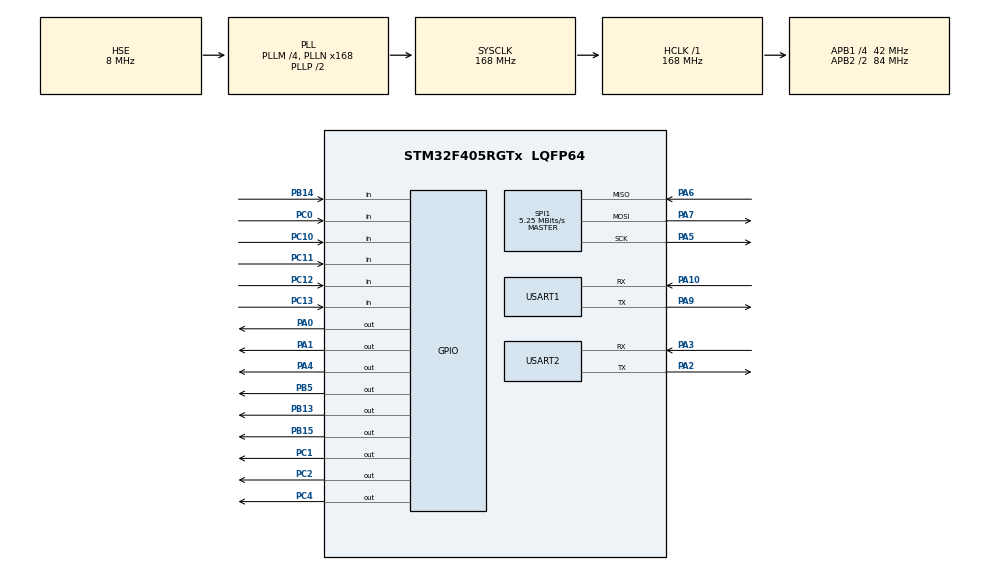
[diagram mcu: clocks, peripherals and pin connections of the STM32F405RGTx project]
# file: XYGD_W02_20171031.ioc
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Dma.Request0=USART2_TX
Dma.Request1=USART1_TX
Dma.USART1_TX.1.Direction=DMA_MEMORY_TO_PERIPH
Dma.USART1_TX.1.FIFOMode=DMA_FIFOMODE_DISABLE
Dma.USART1_TX.1.Instance=DMA2_Stream7
Dma.USART1_TX.1.MemDataAlignment=DMA_MDATAALIGN_BYTE
Dma.USART1_TX.1.MemInc=DMA_MINC_ENABLE
Dma.USART1_TX.1.Mode=DMA_NORMAL
Dma.USART1_TX.1.PeriphDataAlignment=DMA_PDATAALIGN_BYTE
Dma.USART1_TX.1.PeriphInc=DMA_PINC_DISABLE
Dma.USART1_TX.1.Priority=DMA_PRIORITY_LOW
Dma.USART2_TX.0.Direction=DMA_MEMORY_TO_PERIPH
Dma.USART2_TX.0.FIFOMode=DMA_FIFOMODE_DISABLE
Dma.USART2_TX.0.Instance=DMA1_Stream6
Dma.USART2_TX.0.MemDataAlignment=DMA_MDATAALIGN_BYTE
Dma.USART2_TX.0.MemInc=DMA_MINC_ENABLE
Dma.USART2_TX.0.Mode=DMA_NORMAL
Dma.USART2_TX.0.PeriphDataAlignment=DMA_PDATAALIGN_BYTE
Dma.USART2_TX.0.PeriphInc=DMA_PINC_DISABLE
Dma.USART2_TX.0.Priority=DMA_PRIORITY_LOW
IWDG.Prescaler=IWDG_PRESCALER_32
IWDG.Reload=4000
Mcu.Family=STM32F4
Mcu.Name=STM32F405RGTx
Mcu.Package=LQFP64
NVIC.DMA1_Stream6_IRQn=true\:0\:0\:false\:false\:true\:false
NVIC.DMA2_Stream7_IRQn=true\:0\:0\:false\:false\:true\:false
NVIC.PriorityGroup=NVIC_PRIORITYGROUP_3
NVIC.TIM2_IRQn=true\:4\:0\:true\:false\:true\:true
NVIC.TIM3_IRQn=true\:3\:0\:true\:false\:true\:true
NVIC.USART1_IRQn=true\:2\:0\:true\:false\:true\:true
NVIC.USART2_IRQn=true\:1\:0\:true\:false\:true\:true
PA0-WKUP.GPIO_PuPd=GPIO_PULLUP
PA0-WKUP.PinState=GPIO_PIN_SET
PA0-WKUP.Signal=GPIO_Output
PA1.GPIO_PuPd=GPIO_PULLUP
PA1.PinState=GPIO_PIN_SET
PA1.Signal=GPIO_Output
PA10.Mode=Asynchronous
PA10.Signal=USART1_RX
PA13.Mode=Serial_Wire
PA13.Signal=SYS_JTMS-SWDIO
PA14.Mode=Serial_Wire
PA14.Signal=SYS_JTCK-SWCLK
PA2.Mode=Asynchronous
PA2.Signal=USART2_TX
PA3.Mode=Asynchronous
PA3.Signal=USART2_RX
PA4.PinState=GPIO_PIN_SET
PA4.Signal=GPIO_Output
PA5.GPIO_PuPd=GPIO_PULLUP
PA5.Mode=Full_Duplex_Master
PA5.Signal=SPI1_SCK
PA6.Mode=Full_Duplex_Master
PA6.Signal=SPI1_MISO
PA7.Mode=Full_Duplex_Master
PA7.Signal=SPI1_MOSI
PA9.Mode=Asynchronous
PA9.Signal=USART1_TX
PB13.GPIO_ModeDefaultOutputPP=GPIO_MODE_OUTPUT_PP
PB13.GPIO_PuPd=GPIO_NOPULL
PB13.PinState=GPIO_PIN_SET
PB13.Signal=GPIO_Output
PB14.GPIO_PuPd=GPIO_NOPULL
PB14.Signal=GPIO_Input
PB15.GPIO_ModeDefaultOutputPP=GPIO_MODE_OUTPUT_PP
PB15.GPIO_PuPd=GPIO_NOPULL
PB15.PinState=GPIO_PIN_SET
PB15.Signal=GPIO_Output
PB5.PinState=GPIO_PIN_SET
PB5.Signal=GPIO_Output
PC0.GPIO_PuPd=GPIO_PULLUP
PC0.Signal=GPIO_Input
PC1.PinState=GPIO_PIN_SET
PC1.Signal=GPIO_Output
PC10.Signal=GPIO_Input
PC11.Signal=GPIO_Input
PC12.GPIO_PuPd=GPIO_PULLUP
PC12.Signal=GPIO_Input
PC13-ANTI_TAMP.Signal=GPIO_Input
PC2.PinState=GPIO_PIN_SET
PC2.Signal=GPIO_Output
PC4.GPIO_PuPd=GPIO_PULLUP
PC4.PinState=GPIO_PIN_SET
PC4.Signal=GPIO_Output
PH0-OSC_IN.Mode=HSE-External-Oscillator
PH0-OSC_IN.Signal=RCC_OSC_IN
PH1-OSC_OUT.Mode=HSE-External-Oscillator
PH1-OSC_OUT.Signal=RCC_OSC_OUT
ProjectManager.HeapSize=0x5000
ProjectManager.StackSize=0xA000
ProjectManager.TargetToolchain=MDK-ARM V5
RCC.48MHZClocksFreq_Value=84000000
RCC.AHBFreq_Value=168000000
RCC.APB1CLKDivider=RCC_HCLK_DIV4
RCC.APB1Freq_Value=42000000
RCC.APB1TimFreq_Value=84000000
RCC.APB2CLKDivider=RCC_HCLK_DIV2
RCC.APB2Freq_Value=84000000
RCC.APB2TimFreq_Value=168000000
RCC.CortexFreq_Value=168000000
RCC.HCLKFreq_Value=168000000
RCC.HSE_VALUE=8000000
RCC.HSI_VALUE=16000000
RCC.LSE_VALUE=32768
RCC.PLLM=4
RCC.PLLN=168
RCC.PLLSourceVirtual=RCC_PLLSOURCE_HSE
RCC.SYSCLKFreq_VALUE=168000000
RCC.SYSCLKSource=RCC_SYSCLKSOURCE_PLLCLK
RCC.VCOOutputFreq_Value=336000000
SPI1.BaudRatePrescaler=SPI_BAUDRATEPRESCALER_16
SPI1.CalculateBaudRate=5.25 MBits/s
SPI1.DataSize=SPI_DATASIZE_8BIT
SPI1.Direction=SPI_DIRECTION_2LINES
SPI1.Mode=SPI_MODE_MASTER
SPI1.VirtualType=VM_MASTER
TIM2.ClockDivision=TIM_CLOCKDIVISION_DIV1
TIM2.Period=999
TIM2.Prescaler=83
TIM3.Period=9
TIM3.Prescaler=83
USART1.VirtualMode=VM_ASYNC
USART2.VirtualMode=VM_ASYNC
VP_IWDG_VS_IWDG.Mode=IWDG_Activate
VP_TIM2_VS_ClockSourceINT.Mode=Internal
VP_TIM3_VS_ClockSourceINT.Mode=Internal
board=XYGD_W02_20171031

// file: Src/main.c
/**
  ******************************************************************************
  * File Name          : main.c
  * Description        : Main program body
  ******************************************************************************
  ** This notice applies to any and all portions of this file
  * that are not between comment pairs USER CODE BEGIN and
  * USER CODE END. Other portions of this file, whether
  * inserted by the user or by software development tools
  * are owned by their respective copyright owners.
  *
  * COPYRIGHT(c) 2018 STMicroelectronics
  *
  * Redistribution and use in source and binary forms, with or without modification,
  * are permitted provided that the following conditions are met:
  *   1. Redistributions of source code must retain the above copyright notice,
  *      this list of conditions and the following disclaimer.
  *   2. Redistributions in binary form must reproduce the above copyright notice,
  *      this list of conditions and the following disclaimer in the documentation
  *      and/or other materials provided with the distribution.
  *   3. Neither the name of STMicroelectronics nor the names of its contributors
  *      may be used to endorse or promote products derived from this software
  *      without specific prior written permission.
  *
  * THIS SOFTWARE IS PROVIDED BY THE COPYRIGHT HOLDERS AND CONTRIBUTORS "AS IS"
  * AND ANY EXPRESS OR IMPLIED WARRANTIES, INCLUDING, BUT NOT LIMITED TO, THE
  * IMPLIED WARRANTIES OF MERCHANTABILITY AND FITNESS FOR A PARTICULAR PURPOSE ARE
  * DISCLAIMED. IN NO EVENT SHALL THE COPYRIGHT HOLDER OR CONTRIBUTORS BE LIABLE
  * FOR ANY DIRECT, INDIRECT, INCIDENTAL, SPECIAL, EXEMPLARY, OR CONSEQUENTIAL
  * DAMAGES (INCLUDING, BUT NOT LIMITED TO, PROCUREMENT OF SUBSTITUTE GOODS OR
  * SERVICES; LOSS OF USE, DATA, OR PROFITS; OR BUSINESS INTERRUPTION) HOWEVER
  * CAUSED AND ON ANY THEORY OF LIABILITY, WHETHER IN CONTRACT, STRICT LIABILITY,
  * OR TORT (INCLUDING NEGLIGENCE OR OTHERWISE) ARISING IN ANY WAY OUT OF THE USE
  * OF THIS SOFTWARE, EVEN IF ADVISED OF THE POSSIBILITY OF SUCH DAMAGE.
  *
  ******************************************************************************
  */

#include "main.h"
#include "stm32f4xx_hal.h"
#include "dma.h"
#include "iwdg.h"
#include "spi.h"
#include "tim.h"
#include "usart.h"
#include "gpio.h"

/* USER CODE BEGIN Includes */
#include "bsp_led.h"
#include "bsp_uart.h"
#include "bsp_UartProtocl.h"
#include "bsp_Ad7606.h"
#include "bsp_interal_flash.h"
#include <string.h>
#include <stdio.h>
//#include "bsp_double_buf.h"
#include "bsp_calculation.h"
#include "bsp_buildframe.h"
#include "bsp_dmasend.h"
#include "bsp_ms5540b.h"

#include "bsp_adder.h"
/* USER CODE END Includes */

/* USER CODE BEGIN PV */
/* Private variables ---------------------------------------------------------*/
//static uint8_t press_data_test[2]={0xb1,0xb2};
//static uint8_t presstmp_data_test[2]={0xc1,0xc2};
static uint8_t tmp_data_test[2]={0xd1,0xd2};
static uint8_t tmp_sendbuf[30]={0};
/* USER CODE END PV */

void SystemClock_Config(void);

/* USER CODE BEGIN PFP */
/* Private function prototypes -----------------------------------------------*/

/* USER CODE END PFP */

int main(void)
{

  /* USER CODE BEGIN 1 */
	static int16_t i=0;
	//uint8_t buf[]="hello\r\n";

  /* USER CODE END 1 */

  /* MCU Configuration----------------------------------------------------------*/

  /* Reset of all peripherals, Initializes the Flash interface and the Systick. */
  HAL_Init();

  /* Configure the system clock */
  SystemClock_Config();

  /* Initialize all configured peripherals */
  MX_GPIO_Init();
  MX_DMA_Init();
  MX_USART1_UART_Init();
  MX_TIM2_Init();
  MX_SPI1_Init();
  MX_TIM3_Init();
  MX_USART2_UART_Init();
  //MX_IWDG_Init();

  /* USER CODE BEGIN 2 */

	ProtocolFrame_Init(&UartFrame,Uart_ReadAByteFromRxFifo);//注册协议组包函数的数据输入接口回调函数
	ProtocolFrame_Init(&UartFrame2,Uart_ReadAByteFromRxFifo);//注册协议组包函数的数据输入接口回调函数
	Uart_Receive_Start(&huart1,Uart_Fifo_Point);//开启串口中断，将数据存入环形缓冲器 串口1
	Uart_Receive_Start(&huart2,Uart_Fifo_Point2);//开启串口中断，将数据存入环形缓冲器 串口2
	Interal_Flash_ReadByByte(USER_FLASH_ADDR_START,(uint8_t*)&Bsp_Config,sizeof(Bsp_Config_Typedef));	//读取模块配置表
	if(Bsp_Config.update_flag!=BSP_CONFIG_TABLE_FLAG){//配置出厂配置
		if(INTERAL_FLASH_SUCCESS==Interal_Flash_WriteByByte(USER_FLASH_ADDR_START,(uint8_t *)&Bsp_Config_default,sizeof(Bsp_Config_Typedef))){
			printf("Firt using of this device,Config default arguments done!\r\n");
			Interal_Flash_ReadByByte(USER_FLASH_ADDR_START,(uint8_t*)&Bsp_Config,sizeof(Bsp_Config_Typedef));	//读取模块配置表
			//打印参数表
		}else{
			printf("Firt using of this device,Config default arguments error!\r\n");
		}
	}

	Ms5540_Init(&MS5540);//初始化气压传感器
	AdcAdder_Init(&AdcDataAdder,Bsp_Config.AverageTimes);
	DmaSendInit(&DmaSendMoudle);
	BuildFrame_Init(&BuildFrameC);//组帧模块初始化

	CalculationInit(&Calculation);//算法层初始化
	AD7606_Init(Bsp_Config.adc_sample_fre);//初始化AD7606  默认采样频率10k

	//HAL_TIM_Base_Start_IT(&htim3);  //开始定时器
	HAL_TIM_Base_Start_IT(&htim2);  //开始定时器

  /* USER CODE END 2 */

  /* Infinite loop */
  while (1)
  {

  /* USER CODE BEGIN 3 */

		UartReceiveServer();//监测是否有通信指令送达  如果有  解析指令  并完成相应工作

		/*
		if(ADCADDER_SUCCESS== AdcAdder_DataOutput(&AdcDataAdder,Calculation.datainputreg,8)){
			AdcAverage(&Calculation,AdcDataAdder.AdderTimesThreshold);
			Ms5540_ReadTempPressure(&MS5540);//测量气压和温度
			BuildFrameAllInput(&BuildFrameC,(uint8_t*)Calculation.dataoutputbuf,10,MS5540.pressurebuf,2,MS5540.temperaturebuf,2,tmp_data_test,2);
			DmaSend(&DmaSendMoudle,BuildFrameC.BuildFrameOutputBuf,BuildFrameC.framelen);
			Calculation.bussy=CALCULATION_NOBUSSY;
		}
		*/

		if(AD7606_SUCESS== AD7606_Read8Channel(Adc_CodeBytes)){//采样成功  装入BUF
			tmp_sendbuf[0]=0xA5;

			tmp_sendbuf[1]=Adc_CodeBytes[1];
			tmp_sendbuf[2]=Adc_CodeBytes[0];

			tmp_sendbuf[3]=Adc_CodeBytes[3];
			tmp_sendbuf[4]=Adc_CodeBytes[2];
			tmp_sendbuf[5]=Adc_CodeBytes[5];
			tmp_sendbuf[6]=Adc_CodeBytes[4];
			tmp_sendbuf[7]=Adc_CodeBytes[7];
			tmp_sendbuf[8]=Adc_CodeBytes[6];
			tmp_sendbuf[9]=Adc_CodeBytes[9];
			tmp_sendbuf[10]=Adc_CodeBytes[8];

			tmp_sendbuf[11]=0;
			tmp_sendbuf[12]=0;
			tmp_sendbuf[13]=0;
			tmp_sendbuf[14]=0;
			tmp_sendbuf[15]=0;
			tmp_sendbuf[16]=0;

			tmp_sendbuf[17]=0;

			for(i=0;i<17;i++){
				tmp_sendbuf[17]^=tmp_sendbuf[i];
			}
			tmp_sendbuf[18]=0x5A;
			DmaSend(&DmaSendMoudle,tmp_sendbuf,19);
			HAL_Delay(20);

		}

		//喂我中华田园犬
		//HAL_IWDG_Refresh(&hiwdg);

	}

  /* USER CODE END 3 */

}

/** System Clock Configuration
*/
void SystemClock_Config(void)
{

  RCC_OscInitTypeDef RCC_OscInitStruct;
  RCC_ClkInitTypeDef RCC_ClkInitStruct;

    /**Configure the main internal regulator output voltage
    */
  __HAL_RCC_PWR_CLK_ENABLE();

  __HAL_PWR_VOLTAGESCALING_CONFIG(PWR_REGULATOR_VOLTAGE_SCALE1);

    /**Initializes the CPU, AHB and APB busses clocks
    */
  RCC_OscInitStruct.OscillatorType = RCC_OSCILLATORTYPE_LSI|RCC_OSCILLATORTYPE_HSE;
  RCC_OscInitStruct.HSEState = RCC_HSE_ON;
  RCC_OscInitStruct.LSIState = RCC_LSI_ON;
  RCC_OscInitStruct.PLL.PLLState = RCC_PLL_ON;
  RCC_OscInitStruct.PLL.PLLSource = RCC_PLLSOURCE_HSE;
  RCC_OscInitStruct.PLL.PLLM = 4;
  RCC_OscInitStruct.PLL.PLLN = 168;
  RCC_OscInitStruct.PLL.PLLP = RCC_PLLP_DIV2;
  RCC_OscInitStruct.PLL.PLLQ = 4;
  if (HAL_RCC_OscConfig(&RCC_OscInitStruct) != HAL_OK)
  {
    _Error_Handler(__FILE__, __LINE__);
  }

    /**Initializes the CPU, AHB and APB busses clocks
    */
  RCC_ClkInitStruct.ClockType = RCC_CLOCKTYPE_HCLK|RCC_CLOCKTYPE_SYSCLK
                              |RCC_CLOCKTYPE_PCLK1|RCC_CLOCKTYPE_PCLK2;
  RCC_ClkInitStruct.SYSCLKSource = RCC_SYSCLKSOURCE_PLLCLK;
  RCC_ClkInitStruct.AHBCLKDivider = RCC_SYSCLK_DIV1;
  RCC_ClkInitStruct.APB1CLKDivider = RCC_HCLK_DIV4;
  RCC_ClkInitStruct.APB2CLKDivider = RCC_HCLK_DIV2;

  if (HAL_RCC_ClockConfig(&RCC_ClkInitStruct, FLASH_LATENCY_5) != HAL_OK)
  {
    _Error_Handler(__FILE__, __LINE__);
  }

    /**Configure the Systick interrupt time
    */
  HAL_SYSTICK_Config(HAL_RCC_GetHCLKFreq()/1000);

    /**Configure the Systick
    */
  HAL_SYSTICK_CLKSourceConfig(SYSTICK_CLKSOURCE_HCLK);

  /* SysTick_IRQn interrupt configuration */
  HAL_NVIC_SetPriority(SysTick_IRQn, 0, 0);
}

void _Error_Handler(char * file, int line)
{
  while(1)
  {
  }
}

/************************ (C) COPYRIGHT STMicroelectronics *****END OF FILE****/
